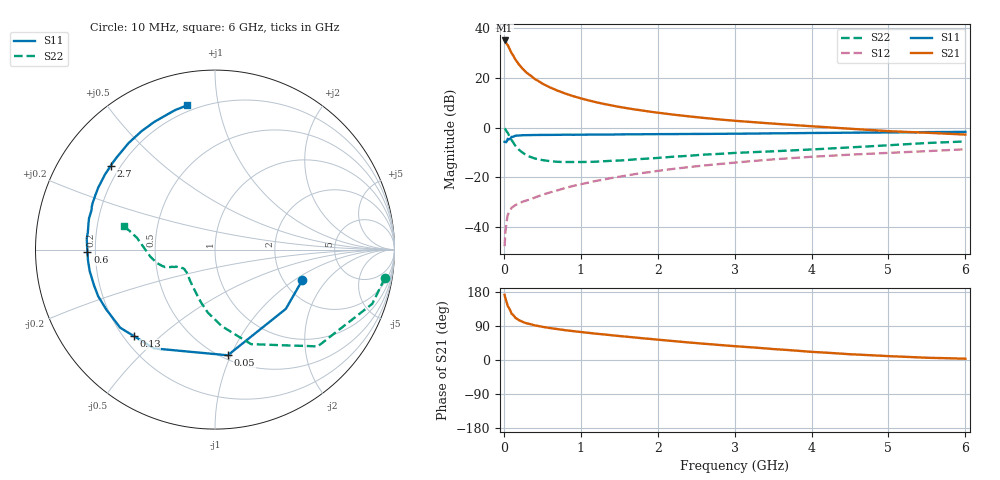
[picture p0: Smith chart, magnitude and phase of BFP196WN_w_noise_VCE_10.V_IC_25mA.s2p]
! Infineon Technologies  Discrete & RF Semiconductors
! BFP196WN
! VCE =  10. V,  IC =  25 mA
! Common Emitter S-Parameters:  Jan 2017
# GHz  S  MA  R  50
!  f  S11  S21  S12  S22
! GHz  MAG  ANG  MAG  ANG  MAG  ANG  MAG  ANG
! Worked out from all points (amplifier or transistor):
!   77 points, 10 MHz to 6 GHz, reference 50 ohm
!   highest |S21| = 35.0 dB at 10 MHz (marker M1)
!   |S21| within 3 dB of that: start of sweep to 68.46 MHz
!   unconditionally stable (mu >= 1): 876.3 MHz to 2.704 GHz
!   at 130 MHz: K = 0.35, MSG = 30.1 dB, |S12| = -31.6 dB
!   at 2.2 GHz: K = 1.03, MAG = 9.9 dB, |S12| = -16.7 dB
!   at 6 GHz: K = 0.88, MSG = 3.0 dB, |S12| = -8.7 dB
!   lowest NFmin = 1.00 dB at 450 MHz
!   S11 on the Smith chart (normalised r, x): 10 MHz: 2.50, -1.17; 50 MHz: 0.54, -0.97; 130 MHz: 0.24, -0.41; 600 MHz: 0.17, -0.01; 2.7 GHz: 0.16, +0.34; 6 GHz: 0.17, +0.81
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0.01  0.5153 -19.4  56.49 171.9  0.0041 81.7  0.9596 -9.5
0.02  0.5146 -39.9  53.37 163.0  0.0078 78.5  0.9269 -19.0
0.05  0.5931 -83.1  45.67 142.6  0.0172 57.0  0.7866 -43.3
0.1  0.6469 -121.7  31.72 122.3  0.0243 47.0  0.5639 -69.1
0.13  0.6608 -133.3  26.63 116.6  0.0262 43.9  0.4786 -77.5
0.15  0.6843 -140.5  23.43 111.5  0.0275 42.1  0.4292 -84.8
0.2  0.6916 -151.1  18.23 104.8  0.0299 41.7  0.3538 -96.4
0.25  0.7009 -158.3  14.89 100.1  0.0324 43.4  0.3077 -104.2
0.3  0.7027 -163.4  12.56 96.6  0.0343 44.5  0.2734 -111.2
0.4  0.7084 -170.3  9.557 91.4  0.0388 48.6  0.2391 -121.3
0.5  0.7102 -175.2  7.677 87.6  0.0442 52.1  0.2214 -129.1
0.6  0.711 -179.0  6.422 84.3  0.0495 54.6  0.2106 -134.8
0.7  0.7135 177.9  5.505 81.5  0.0546 57.2  0.204 -138.7
0.8  0.7172 175.0  4.827 78.6  0.0608 59.4  0.2025 -141.6
1.1  0.7202 168.1  3.519 71.7  0.078 62.0  0.2032 -148.3
1.5  0.7275 160.6  2.6 63.3  0.1023 63.2  0.2169 -153.4
2.1  0.7371 150.4  1.905 51.9  0.1405 62.1  0.2515 -157.5
2.7  0.7455 141.1  1.507 41.4  0.1781 59.2  0.2898 -160.5
3.1  0.7528 135.1  1.332 35.1  0.2031 56.5  0.3129 -163.7
4.1  0.7783 120.4  1.037 20.4  0.2629 49.4  0.3688 -175.5
5.1  0.7989 109.3  0.833 9.4  0.314 42.1  0.4492 170.6
6  0.8183 101.0  0.721 3.4  0.3653 36.1  0.5244 165.7
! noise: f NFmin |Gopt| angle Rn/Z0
0.45  1  0.43  174  0.05
0.9  1.15  0.51  182  0.05
1.9  2.08  0.68  210  0.13
2.4  2.83  0.69  217  0.23
